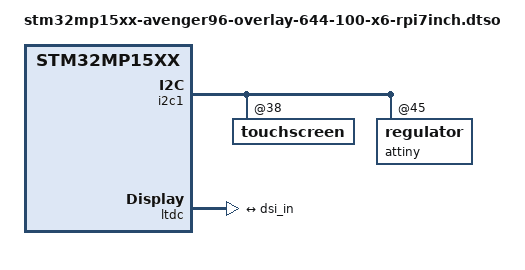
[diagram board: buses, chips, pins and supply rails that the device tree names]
// SPDX-License-Identifier: (GPL-2.0+ OR BSD-3-Clause)
/*
 * Copyright (C) 2020 Marek Vasut
 */
/dts-v1/;
/plugin/;

&i2c1 {
	#address-cells = <1>;
	#size-cells = <0>;

	touchscreen: touchscreen@38 {
	};

	attiny: regulator@45 {
	};
};

#include "stm32mp15xx-dhsom-overlay-panel-dsi-rpi7inch.dtsi"

&ltdc {
	port {
		#address-cells = <1>;
		#size-cells = <0>;

		ltdc_ep_out: endpoint@1 {
			reg = <1>;
			remote-endpoint = <&dsi_in>;
		};
	};
};
